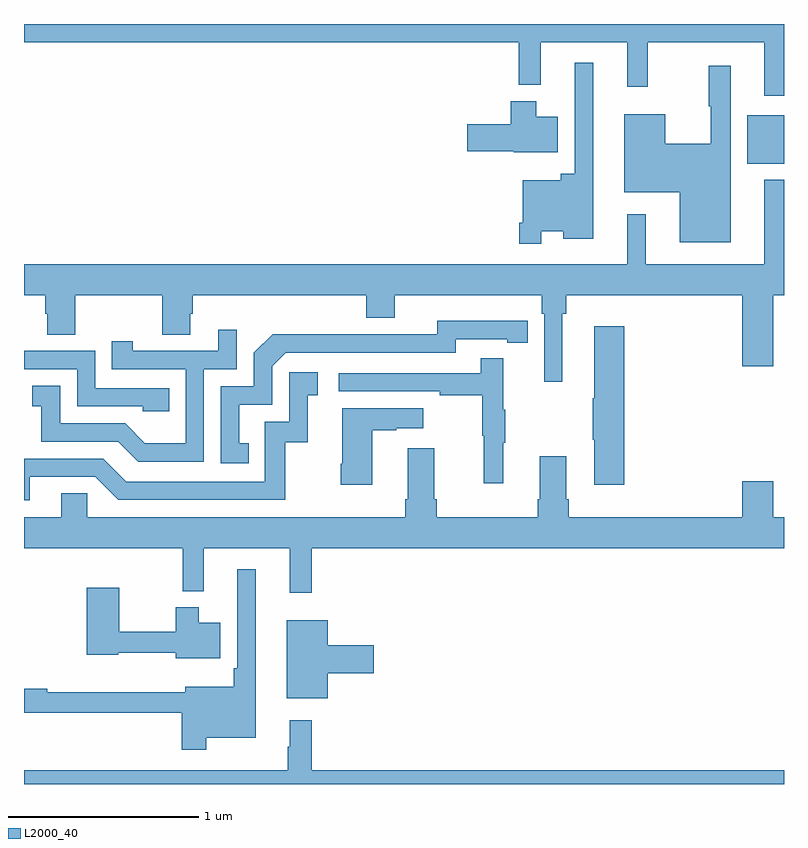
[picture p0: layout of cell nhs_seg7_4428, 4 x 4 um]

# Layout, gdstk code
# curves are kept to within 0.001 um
import gdstk
lib = gdstk.Library(unit=1e-6, precision=1e-09)
def R(c, l, rs):  # rectangles x0, y0, x1, y1
    for r in rs: c.add(gdstk.rectangle(r[:2], r[2:], *l))
def P(c, l, *ps):  # polygons
    for p in ps: c.add(gdstk.Polygon(p, *l))
L2000_40 = (2000, 40)

nhs_seg7_4428 = lib.new_cell('nhs_seg7_4428')
R(nhs_seg7_4428, L2000_40, [(392.807,1045.265,393,1045.519)])
P(nhs_seg7_4428, L2000_40, [(393,1046),(389,1046),(389,1045.904),(391.603,1045.904),(391.603,1045.679),(391.721,1045.679),(391.721,1045.904),(392.174,1045.904),(392.174,1045.671),(392.284,1045.671),(392.284,1045.904),(392.897,1045.904),(392.897,1045.623),(393,1045.623)],
  [(391.722,1044.908),(391.838,1044.908),(391.838,1044.869),(391.996,1044.869),(391.996,1045.795),(391.899,1045.795),(391.899,1045.213),(391.826,1045.213),(391.826,1045.177),(391.626,1045.177),(391.626,1044.955),(391.606,1044.955),(391.606,1044.843),(391.722,1044.843)],
  [(392.719,1045.78),(392.605,1045.78),(392.605,1045.566),(392.615,1045.566),(392.615,1045.369),(392.374,1045.369),(392.374,1045.525),(392.159,1045.525),(392.159,1045.115),(392.45,1045.115),(392.45,1044.851),(392.719,1044.851)],
  [(391.81,1045.513),(391.696,1045.513),(391.696,1045.594),(391.562,1045.594),(391.562,1045.473),(391.332,1045.473),(391.332,1045.331),(391.578,1045.331),(391.578,1045.325),(391.81,1045.325)],
  [(391.834,1044.476),(391.853,1044.476),(391.853,1044.572),(392.78,1044.572),(392.78,1044.198),(392.944,1044.198),(392.944,1044.572),(393,1044.572),(393,1045.18),(392.897,1045.18),(392.897,1044.736),(392.273,1044.736),(392.273,1045),(392.174,1045),(392.174,1044.736),(389,1044.736),(389,1044.572),(389.111,1044.572),(389.111,1044.474),(389.123,1044.474),(389.123,1044.364),(389.271,1044.364),(389.271,1044.572),(389.728,1044.572),(389.728,1044.364),(389.875,1044.364),(389.875,1044.474),(389.888,1044.474),(389.888,1044.572),(390.8,1044.572),(390.8,1044.455),(390.952,1044.455),(390.952,1044.572),(391.724,1044.572),(391.724,1044.476),(391.737,1044.476),(391.737,1044.117),(391.834,1044.117)],
  [(390.182,1043.793),(390.133,1043.793),(390.133,1043.997),(390.306,1043.997),(390.306,1044.198),(390.378,1044.27),(391.272,1044.27),(391.272,1044.342),(391.544,1044.342),(391.544,1044.322),(391.652,1044.322),(391.652,1044.438),(391.176,1044.439),(391.176,1044.366),(390.716,1044.366),(390.716,1044.368),(390.308,1044.368),(390.21,1044.27),(390.21,1044.093),(390.036,1044.093),(390.036,1043.688),(390.182,1043.688)],
  [(392.159,1044.409),(392,1044.409),(392,1044.029),(391.993,1044.029),(391.993,1043.812),(392,1043.812),(392,1043.574),(392.159,1043.574)],
  [(389.946,1044.183),(390.12,1044.183),(390.12,1044.391),(390.023,1044.391),(390.023,1044.279),(389.572,1044.279),(389.572,1044.331),(389.461,1044.331),(389.461,1044.183),(389.85,1044.183),(389.85,1043.794),(389.636,1043.794),(389.532,1043.898),(389.19,1043.898),(389.19,1044.097),(389.043,1044.097),(389.043,1043.987),(389.092,1043.987),(389.092,1043.802),(389.495,1043.802),(389.6,1043.697),(389.946,1043.697)],
  [(389.765,1044.084),(389.376,1044.084),(389.376,1044.279),(389,1044.279),(389,1044.183),(389.28,1044.183),(389.28,1043.988),(389.625,1043.988),(389.625,1043.961),(389.765,1043.961)],
  [(391.523,1043.795),(391.534,1043.795),(391.534,1043.969),(391.523,1043.969),(391.523,1044.241),(391.405,1044.241),(391.405,1044.162),(390.657,1044.162),(390.657,1044.066),(391.189,1044.066),(391.189,1044.046),(391.413,1044.046),(391.413,1043.832),(391.42,1043.832),(391.42,1043.583),(391.523,1043.583)],
  [(389.029,1043.616),(389.376,1043.616),(389.496,1043.496),(390.376,1043.496),(390.376,1043.799),(390.494,1043.799),(390.494,1044.045),(390.547,1044.045),(390.547,1044.166),(390.396,1044.166),(390.396,1043.907),(390.267,1043.907),(390.267,1043.592),(389.538,1043.592),(389.418,1043.712),(389,1043.712),(389,1043.493),(389.029,1043.493)],
  [(390.832,1043.863),(390.959,1043.863),(390.959,1043.873),(391.102,1043.873),(391.102,1043.977),(390.674,1043.977),(390.674,1043.686),(390.667,1043.686),(390.667,1043.574),(390.832,1043.574)],
  [(390.515,1043.24),(393,1043.24),(393,1043.404),(392.944,1043.404),(392.944,1043.593),(392.78,1043.593),(392.78,1043.404),(391.868,1043.404),(391.868,1043.5),(391.855,1043.5),(391.855,1043.725),(391.715,1043.725),(391.715,1043.5),(391.703,1043.5),(391.703,1043.404),(391.172,1043.404),(391.172,1043.5),(391.159,1043.5),(391.159,1043.767),(391.019,1043.767),(391.019,1043.5),(391.007,1043.5),(391.007,1043.404),(389.334,1043.404),(389.334,1043.531),(389.195,1043.531),(389.195,1043.404),(389,1043.404),(389,1043.24),(389.835,1043.24),(389.835,1043.015),(389.945,1043.015),(389.945,1043.24),(390.398,1043.24),(390.398,1043.007),(390.515,1043.007)],
  [(389.959,1042.244),(390.22,1042.244),(390.22,1043.131),(390.123,1043.131),(390.123,1042.609),(390.103,1042.609),(390.103,1042.513),(389.849,1042.513),(389.849,1042.484),(389.123,1042.484),(389.123,1042.502),(389,1042.502),(389,1042.374),(389.83,1042.374),(389.83,1042.179),(389.959,1042.179)],
  [(390.034,1042.849),(389.92,1042.849),(389.92,1042.93),(389.798,1042.93),(389.798,1042.801),(389.5,1042.801),(389.5,1043.032),(389.33,1043.032),(389.33,1042.679),(389.496,1042.679),(389.496,1042.691),(389.798,1042.691),(389.798,1042.661),(390.034,1042.661)],
  [(390.598,1042.583),(390.841,1042.583),(390.841,1042.73),(390.598,1042.73),(390.598,1042.861),(390.383,1042.861),(390.383,1042.451),(390.598,1042.451)],
  [(393,1042.072),(390.515,1042.072),(390.515,1042.336),(390.398,1042.336),(390.398,1042.196),(390.387,1042.196),(390.387,1042.072),(389,1042.072),(389,1042),(393,1042)])

lib.write_gds('nhs_seg7_4428.gds')
